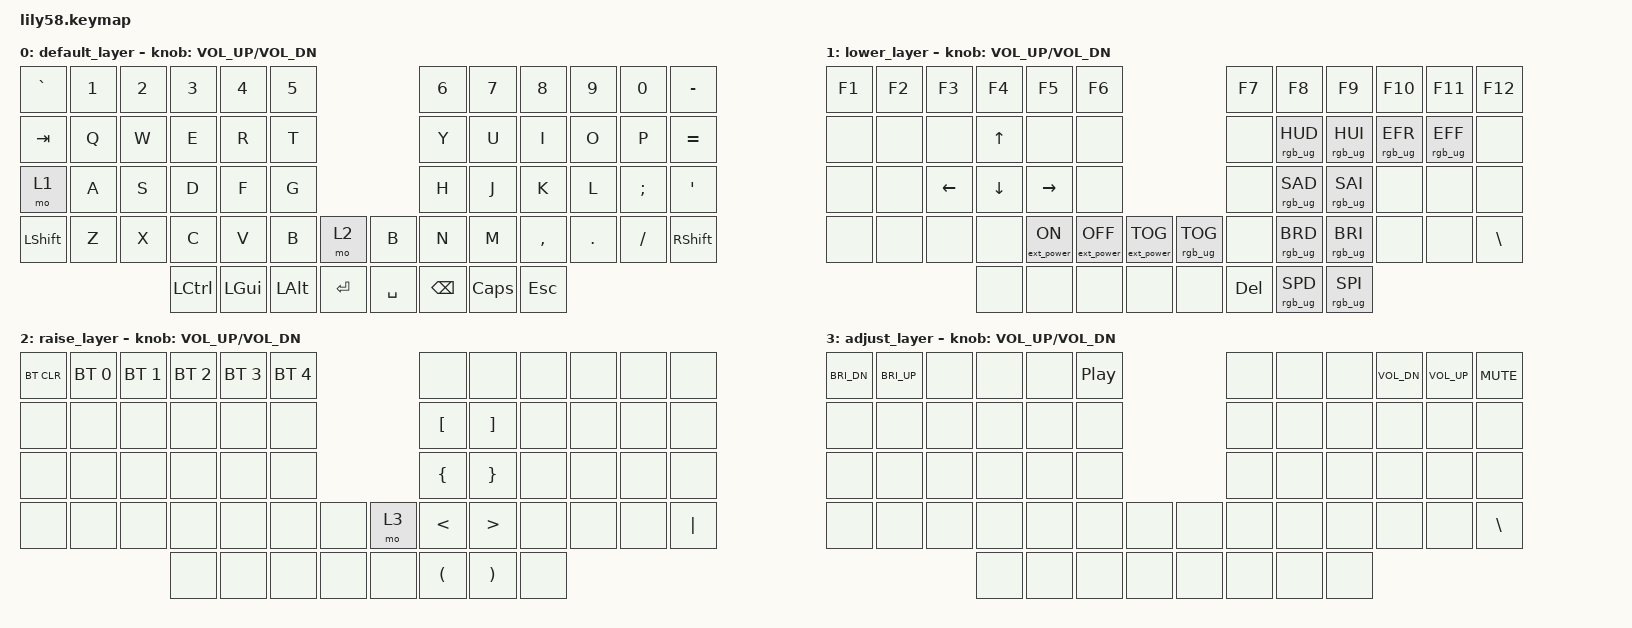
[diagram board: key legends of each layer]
/*
 * Copyright (c) 2020 The ZMK Contributors
 *
 * SPDX-License-Identifier: MIT
 */

#include <behaviors.dtsi>
#include <dt-bindings/zmk/keys.h>
#include <dt-bindings/zmk/bt.h>
#include <dt-bindings/zmk/ext_power.h>
#include <dt-bindings/zmk/rgb.h>
#include <dt-bindings/zmk/outputs.h>
#include <dt-bindings/led/led.h>
#include <dt-bindings/zmk/backlight.h>
#include <dt-bindings/zmk/reset.h>

/{
    combo_brc {
        timeout-ms = <50>;
        key-positions = <1 2>;
        bindings = <&macro_brc>;
    };
    
    macro_brc: macro_brc {
        compatible = "zmk,behavior-macro";
        label = "macro_brc";
        #binding-cells = <0>;
        bindings = <&kp LBRC>, <&kp RBRC>, <&kp LEFT>;
    };

    combo_bkt {
        timeout-ms = <50>;
        key-positions = <7 8>;
        bindings = <&macro_bkt>;
    };
    
    macro_bkt: macro_bkt {
        compatible = "zmk,behavior-macro";
        label = "macro_bkt";
        #binding-cells = <0>;
        bindings = <&kp LBKT>, <&kp RBKT>, <&kp LEFT>;
    };

    combo_than {
        timeout-ms = <50>;
        key-positions = <13 14>;
        bindings = <&macro_than>;
    };
    
    macro_than: macro_than {
        compatible = "zmk,behavior-macro";
        label = "macro_than";
        #binding-cells = <0>;
        bindings = <&kp LT>, <&kp RT>, <&kp LEFT>;
    };

    combo_par {
        timeout-ms = <50>;
        key-positions = <19 20>;
        bindings = <&macro_par>;
    };
    
    macro_par: macro_par {
        compatible = "zmk,behavior-macro";
        label = "macro_par";
        #binding-cells = <0>;
        bindings = <&kp LPAR>, <&kp RPAR>, <&kp LEFT>;
    };

    
    keymap {
        compatible = "zmk,keymap";

        default_layer {
// ------------------------------------------------------------------------------------------------------------
// |   `   |  1  |  2  |  3   |  4   |  5   |                   |  6   |  7    |  8    |  9   |   0   |   -   |
// |  TAB  |  Q  |  W  |  E   |  R   |  T   |                   |  Y   |  U    |  I    |  O   |   P   |   =   |
// | LOWER |  A  |  S  |  D   |  F   |  G   |                   |  H   |  J    |  K    |  L   |   ;   |   '   |
// | SHIFT |  Z  |  X  |  C   |  V   |  B   |  RAISE |  |   B   |  N   |  M    |  ,    |  .   |   /   | SHIFT |
//                     | LCTRL| LGUI | LALT |  ENTER |  | SPACE | BSPC | LOCK  | ESC   |
            bindings = <
&kp GRAVE &kp N1 &kp N2 &kp N3    &kp N4   &kp N5                         &kp N6     &kp N7   &kp N8    &kp N9  &kp N0   &kp MINUS
&kp TAB   &kp Q  &kp W  &kp E     &kp R    &kp T                          &kp Y      &kp U    &kp I     &kp O   &kp P    &kp EQUAL
&mo 1  &kp A  &kp S  &kp D     &kp F    &kp G                          &kp H      &kp J    &kp K     &kp L   &kp SEMI &kp SQT
&kp LSHFT &kp Z  &kp X  &kp C     &kp V    &kp B    &mo 2   &kp B      &kp N      &kp M    &kp COMMA &kp DOT &kp FSLH &kp RSHFT
                        &kp LCTRL &kp LGUI &kp LALT &kp RET    &kp SPACE  &kp BSPC   &kp CAPS &kp ESC
            >;

            sensor-bindings = <&inc_dec_kp C_VOL_UP C_VOL_DN>;
        };

        lower_layer {
// ------------------------------------------------------------------------------------------------------------
// |  F1   |  F2 |  F3 |  F4  |  F5  |  F6  |                   |  F7  |  F8   |  F9   |  F10 |  F11  |  F12 |
// |       |     |     |  UP  |      |      |                   |RGB_ON|RGB_HUD|RGB_HUI|RGB_EFR|RGB_EFF|     |
// |       |     | LEFT| DOWN |RIGHT |      |                   |RGB_OFF|RGB_SAD|RGB_SAI|      |       |      |
// |       |     |     |      | EP_ON|EP_OFF| EP_TOG |  |RGB_TOG|      |RGB_BRD|RGB_BRI|      |       |  \   |
//                     |      |      |      |        |  |       |  DEL |RGB_SPD|RGB_SPI|
            bindings = <
&kp F1  &kp F2    &kp F3   &kp F4     &kp F5            &kp F6                                                 &kp F7          &kp F8           &kp F9          &kp F10          &kp F11          &kp F12
&none   &none     &none    &kp UP     &none              &none                                                  &none  &rgb_ug RGB_HUD  &rgb_ug RGB_HUI &rgb_ug RGB_EFR  &rgb_ug RGB_EFF  &none
&none   &none     &kp LEFT &kp DOWN   &kp RIGHT          &none                                                  &none &rgb_ug RGB_SAD  &rgb_ug RGB_SAI &none            &none            &none
&none   &none     &none    &none      &ext_power EP_ON  &ext_power EP_OFF  &ext_power EP_TOG  &rgb_ug RGB_TOG  &none           &rgb_ug RGB_BRD  &rgb_ug RGB_BRI &none            &none            &kp BACKSLASH
                           &none      &none             &none              &none              &none            &kp DEL         &rgb_ug RGB_SPD  &rgb_ug RGB_SPI
            >;

            sensor-bindings = <&inc_dec_kp C_VOL_UP C_VOL_DN>;
        };

        raise_layer {
// ------------------------------------------------------------------------------------------------------------
// | BTCLR | BT1 | BT2 |  BT3 |  BT4 |  BT5 |                   |      |      |       |      |       |       |
// |       |     |     |      |      |      |                   |  [   |  ]   |       |      |       |       |
// |       |     |     |      |      |      |                   |  {   |  }   |       |      |       |       |
// |       |     |     |      |      |      |        |  | ADJUST|  <   |  >   |       |      |       |   |   |
//                     |      |      |      |        |  |       |  (   |  )   |       |
            bindings = <
&bt BT_CLR  &bt BT_SEL 0  &bt BT_SEL 1  &bt BT_SEL 2  &bt BT_SEL 3  &bt BT_SEL 4                   &none     &none    &none   &none   &none  &none
&none       &none         &none         &none         &none         &none                          &kp LBKT  &kp RBKT &none   &none   &none  &none
&none       &none         &none         &none         &none         &none                          &kp LBRC  &kp RBRC &none   &none   &none  &none
&none       &none         &none         &none         &none         &none         &none   &mo 3    &kp LT    &kp GT   &none   &none   &none  &kp PIPE
                                        &none         &none         &none         &none   &none    &kp LPAR  &kp RPAR &none
            >;

            sensor-bindings = <&inc_dec_kp C_VOL_UP C_VOL_DN>;
        };

                adjust_layer {
// ------------------------------------------------------------------------------------------------------------
// |C_BRI_DN|C_BRI_UP|     |      |      |C_PP|                 |      |      |       |C_VOL_DN|C_VOL_UP|C_MUTE|
// |       |     |     |      |      |      |                   |      |      |       |        |        |      |
// |       |     |     |      |      |      |                   |      |      |       |        |        |      |
// |       |     |     |      |      |      |        |  |       |      |      |       |        |        |      |
//                     |      |      |      |        |  |       |      |      |       |
            bindings = <
&kp C_BRI_DN  &kp C_BRI_UP &none &none  &none  &kp C_PP                 &none  &none  &none  &kp C_VOL_DN &kp C_VOL_UP &kp C_MUTE
&none         &none        &none &none  &none  &none                    &none  &none  &none  &none        &none        &none
&none         &none        &none &none  &none  &none                    &none  &none  &none  &none        &none        &none
&none         &none        &none &none  &none  &none   &none   &none    &none  &none  &none  &none        &none        &kp BSLH
                                 &none  &none  &none   &none   &none    &none  &none  &none
            >;

            sensor-bindings = <&inc_dec_kp C_VOL_UP C_VOL_DN>;
        };
    };
};
